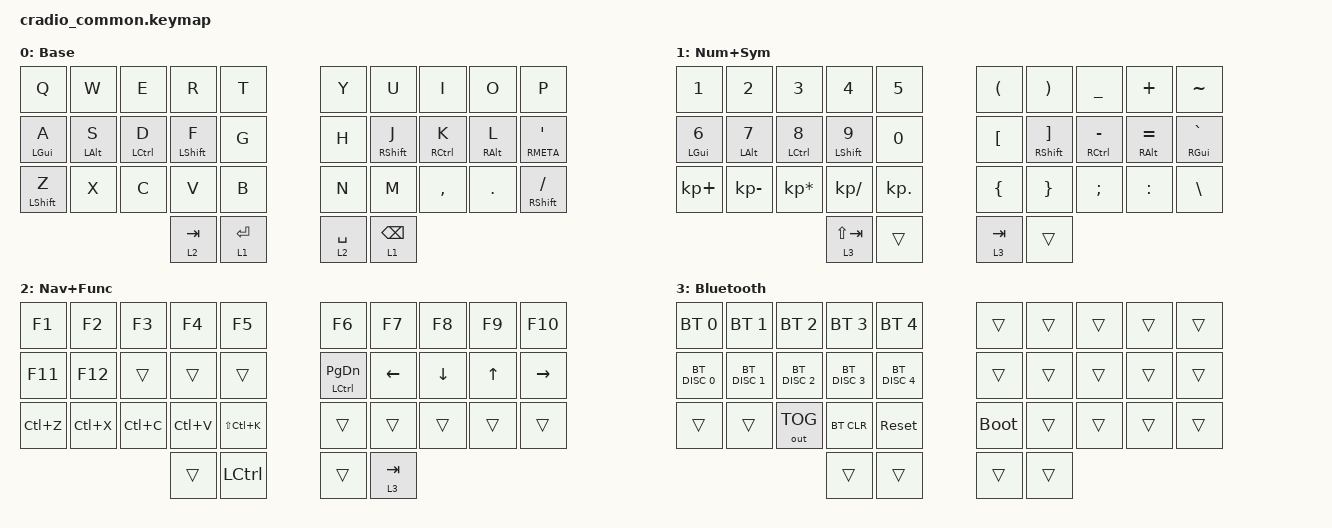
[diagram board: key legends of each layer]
#include <behaviors.dtsi>
#include <dt-bindings/zmk/bt.h>
#include <dt-bindings/zmk/keys.h>
#include <dt-bindings/zmk/outputs.h>

/ {
    combos {
        compatible = "zmk,combos";

        left_enter {
            bindings = <&kp ENTER>;
            key-positions = <1 12 23>;
        };

        right_enter {
            bindings = <&kp ENTER>;
            key-positions = <8 17 26>;
        };

        esc {
            bindings = <&kp ESCAPE>;
            key-positions = <0 1>;
        };

        tab {
            bindings = <&kp TAB>;
            key-positions = <3 14>;
        };

        shift_tab {
            bindings = <&kp LS(TAB)>;
            key-positions = <2 13>;
        };

        hold_space {
            bindings = <&kp SPACE>;
            key-positions = <31 23>;
        };

        caps_word {
            bindings = <&caps_word>;
            key-positions = <14 15>;
        };

        toggle_nav {
            bindings = <&tog 2>;
            key-positions = <11 2 13>;
            layers = <0 2>;
            require-prior-idle-ms = <350>;
        };

        jsdoc {
            bindings = <&jsdoc>;
            key-positions = <29 28>;
        };

        caps_lock {
            bindings = <&kp CAPSLOCK>;
            key-positions = <13 12 16 17>;
        };

        screen_shot {
            bindings = <&kp LS(LG(S))>;
            key-positions = <0 11>;
        };

        reset {
            bindings = <&sys_reset>;
            key-positions = <0 31 32 9>;
        };

        bootloader {
            bindings = <&bootloader>;
            key-positions = <4 14 5 15>;
        };

        bt_clear_all {
            bindings = <&bt BT_CLR_ALL>;
            key-positions = <20 21 29 28 22 27>;
        };
    };

    behaviors {
        hm: HOMEROW_MODS {
            compatible = "zmk,behavior-hold-tap";
            label = "HOMEROW_MODS";
            bindings = <&kp>, <&kp>;

            #binding-cells = <2>;
            tapping-term-ms = <250>;
            quick-tap-ms = <0>;
            flavor = "balanced";
            require-prior-idle-ms = <200>;
        };

        hs: HOMEROW_SHIFT {
            compatible = "zmk,behavior-hold-tap";
            label = "HOMEROW_SHIFT";
            bindings = <&kp>, <&kp>;

            #binding-cells = <2>;
            tapping-term-ms = <250>;
            quick-tap-ms = <0>;
            flavor = "balanced";
            require-prior-idle-ms = <100>;
        };

        esc: esc {
            compatible = "zmk,behavior-tap-dance";
            label = "ESC";
            #binding-cells = <0>;
            bindings = <&kp Q>, <&kp ESC>;

            tapping-term-ms = <200>;
        };

        tab: tab {
            compatible = "zmk,behavior-tap-dance";
            label = "TAB";
            #binding-cells = <0>;
            bindings = <&mt LCTRL ENTER>, <&kp TAB>;

            tapping-term-ms = <250>;
        };
    };

    macros {
        jsdoc: jsdoc {
            compatible = "zmk,behavior-macro";
            #binding-cells = <0>;
            bindings = <&kp FSLH &kp STAR &kp STAR &kp SPACE>;
            label = "JSDOC";
        };
    };

    keymap {
        compatible = "zmk,keymap";

        Base {
            bindings = <
&kp Q           &kp W           &kp E        &kp R             &kp T    &kp Y            &kp U        &kp I         &kp O            &kp P
&hm LEFT_GUI A  &hm LEFT_ALT S  &hm LCTRL D  &hs LEFT_SHIFT F  &kp G    &kp H            &hs RSHFT J  &hm RCTRL K   &hm RIGHT_ALT L  &hm RMETA SQT
&hs LSHFT Z     &kp X           &kp C        &kp V             &kp B    &kp N            &kp M        &kp COMMA     &kp DOT          &hs RSHFT FSLH
                                &lt 2 TAB    &lt 1 ENTER                &lt 2 SPACE               &lt 1 BACKSPACE
            >;
        };

        Num+Sym {
            bindings = <
&kp NUMBER_1     &kp NUMBER_2     &kp NUMBER_3     &kp NUMBER_4   &kp N5        &kp LEFT_PARENTHESIS  &kp RIGHT_PARENTHESIS          &kp UNDERSCORE   &kp PLUS             &kp TILDE
&hm LEFT_GUI N6  &hm LEFT_ALT N7  &hm LCTRL N8     &hs LSHFT N9   &kp N0        &kp LEFT_BRACKET      &hm RIGHT_SHIFT RIGHT_BRACKET  &hm RCTRL MINUS  &hm RIGHT_ALT EQUAL  &hm RIGHT_GUI GRAVE
&kp KP_PLUS      &kp KP_MINUS     &kp KP_MULTIPLY  &kp KP_DIVIDE  &kp KP_DOT    &kp LEFT_BRACE        &kp RIGHT_BRACE                &kp SEMI         &kp COLON            &kp BACKSLASH
                                  &lt 3 LS(TAB)    &trans                       &lt 3 TAB                                            &trans
            >;
        };

        Nav+Func {
            bindings = <
&kp F1                  &kp F2             &kp F3                  &kp F4              &kp F5                    &kp F6                  &kp F7             &kp F8                  &kp F9        &kp F10
&kp F11                 &kp F12            &trans                  &trans              &trans                    &mt LCTRL PAGE_DOWN     &kp LEFT           &kp DOWN                &kp UP        &kp RIGHT
&kp LC(Z)               &kp LC(X)          &kp LC(C)               &kp LC(V)           &kp LS(LC(K))             &trans                  &trans             &trans                  &trans        &trans              
                                           &trans                  &kp LCTRL                                  &trans                &lt 3 TAB
            >;
        };

        Bluetooth {
            bindings = <
&bt BT_SEL 0   &bt BT_SEL 1   &bt BT_SEL 2   &bt BT_SEL 3   &bt BT_SEL 4     &trans       &trans  &trans  &trans  &trans
&bt BT_DISC 0  &bt BT_DISC 1  &bt BT_DISC 2  &bt BT_DISC 3  &bt BT_DISC 4    &trans       &trans  &trans  &trans  &trans
&trans         &trans         &out OUT_TOG   &bt BT_CLR     &sys_reset       &bootloader  &trans  &trans  &trans  &trans
                              &trans         &trans                          &trans               &trans
            >;
        };
    };
};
